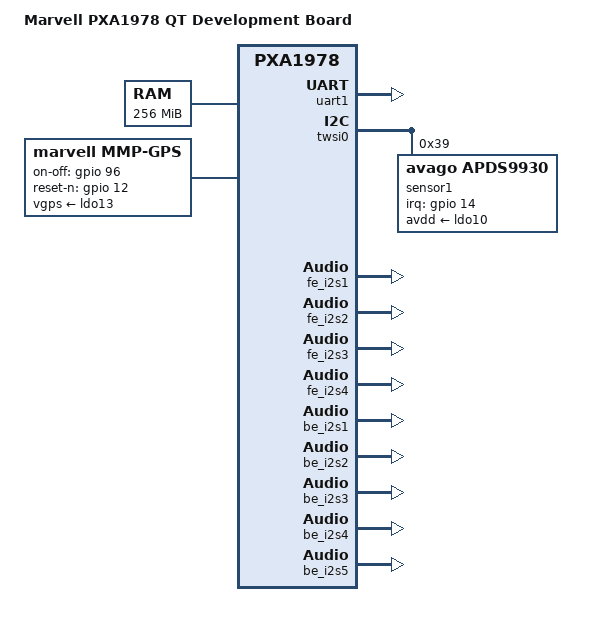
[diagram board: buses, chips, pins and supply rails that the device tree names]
/*
 *  Copyright (C) 2012 Marvell Technology Group Ltd.
 *  Author: Haojian Zhuang <haojian.zhuang@marvell.com>
 *
 *  This program is free software; you can redistribute it and/or modify
 *  it under the terms of the GNU General Public License version 2 as
 *  publishhed by the Free Software Foundation.
 */

/dts-v1/;
/memreserve/ 0x08100000 0x00040000;     /* ramoops buffer (256KB) */
#if (0)
/memreserve/ 0x17000000 0x01800000;	/* Frame buffer (24MB) */
/memreserve/ 0x09000000 0x01000000;	/* GPU Reserved mem (16MB) */
/memreserve/ 0x0a000000 0x00080000;	/* CM3 shared buffer(512KB) */
/memreserve/ 0x0b000000 0x01000000;	/* CM3 ACQ buffer(16MB) */
#endif
#include "pxa1978.dtsi"
#include "pxa988-pinfunc.h"
#include <dt-bindings/mmc/pxa_sdhci.h>

/ {
	model = "Marvell PXA1978 QT Development Board";
	compatible = "marvell,pxa1978-qt", "marvell,pxa1978";

	chosen {
		bootargs = "console=ttyS0,115200 root=/dev/nfs nfsroot=192.168.1.100:/nfsroot/ ip=192.168.1.101:192.168.1.100::255.255.255.0::eth0:on";
	};

	memory {
		reg = <0x00000000 0x10000000>;
	};

	soc {
		bus_number = <2>;

		pd_display: pd_display@0xd4282800 {
			compatible = "marvell,power-domain-display-pxa1u88";
			reg = <0xd4282800 0x1000>;
			clocks = <&soc_clocks PXA1U88_CLK_DISP_HCLK>,
				<&soc_clocks PXA1U88_CLK_DSI_ESC>,
				<&soc_clocks PXA1U88_CLK_DISP1_EN>;
			clock-names = "LCDCIHCLK", "esc_clk", "disp1_clk_gate";
		};

		apb@f7200000 {
			pdma0: pdma@f7200000 {
				status = "okay";
			};

			timer0: timer@f7222000 {
				status = "okay";
			};

			timer1: timer@f7223000 {
				status = "okay";
			};

			timer2: timer@f7221000 {
				status = "okay";
			};

			edgewakeup: edgewakeup@f6101000 {
				status = "okay";
			};

			uart0: uart@f7218000 {
				pinctrl-names = "default", "sleep";
				pinctrl-0 = <&uart0_pmx_func1 &uart0_pmx_func2>;
				pinctrl-1 = <&uart0_pmx_func1_sleep &uart0_pmx_func2>;
				edge-wakeup-gpio = <47>; /* GPIO47: UART rx pin */
			};

			uart1: uart@f7217000 {
				pinctrl-names = "default";
				pinctrl-0 = <&uart3_pmx_func>;
				status = "okay";
			};

			keypad: keypad@d4012000 {
				marvell,direct-keys;
				marvell,direct-key-low-active;
				marvell,keypad-lpm-mod;
				marvell,direct-key-count = <2>;
				marvell,direct-key-mask = <0xff>;
				marvell,direct-key-map = < 0x73
							   0x72>;
				marvell,debounce-interval = <30>;
				pinctrl-names = "default";
				pinctrl-0 = <&keypad_in_func>;
				status = "disabled";
			};

			mfpr: mfpr@f6120000 {
				reg = <0xf6120000 0x280>;
				status = "disabled";
			};

			pmx: pinmux@f711e000 {
				status = "okay";
				pinctrl-names = "default";
				pinctrl-0 = <&mfp_pins_group_0 &mfp_pins_group_1 &mfp_pins_group_2>;

				/* pin base, nr pins & gpio function */
				pinctrl-single,gpio-range = <
					/*
					 * GPIO number is hardcoded for range at here.
					 * In gpio chip, GPIO number is not hardcoded for range.
					 * Since one gpio pin may be routed to multiple pins,
					 * define these gpio range in pxa910-dkb.dts not pxa910.dtsi.
					 */
					&range 55 55 0	/* GPIO0 ~ GPIO54 */
					&range 110 32 0 /* GPIO67 ~ GPIO98 */
					&range 52 1 0	/* GPIO124 */
				>;

                                /* MFP_PULL_HIGH | MFP_LPM_FLOAT */
                                mfp_pins_group_0: mfp_pins_group_0 {
                                        pinctrl-single,pins = <
                                                PRI_TDO AF0
                                                DF_RDY0 AF1
                                                DF_RDY1 AF1
                                                DF_nCS0_SM_nCS2 AF1
                                                PA_MODE AF6
                                                RF_CONF_4 AF6
                                                SM_ADVMUX AF1
                                        >;
                                        MFP_LPM_PULL_UP;
                                };

				/* CP UART Rx and Tx */
				mfp_pins_group_1: mfp_pins_group_1 {
					pinctrl-single,pins = <
						DF_IO8 AF0
						DF_IO9 AF0
						GPIO76 AF0
					>;
					MFP_LPM_PULL_DW;
				};

				/* CCIC1/CCI2 MCLK pin */
				mfp_pins_group_2: mfp_pins_group_2 {
					pinctrl-single,pins = <
						GPIO43 AF7
						GPIO44 AF7
						GPIO77 AF1
					>;
					MFP_DEFAULT;
				};

				/* MFP_DEFAULT */
				sdh0_pmx_func1: sdh0_pmx_func1 {
					pinctrl-single,pins = <
						MMC1_DAT7 AF1
						MMC1_DAT6 AF1
						MMC1_DAT5 AF1
						MMC1_DAT4 AF1
						MMC1_WP AF1
						MMC1_CD AF1 /* Above pins not used by sdh1, configured as GPIO */
						GPIO91 AF0 /* GPIO91, used for sd card detect */
					>;
					MFP_DEFAULT;
				};

				/* no pull, no LPM */
				sdh0_pmx_func2: sdh0_pmx_func2 {
					pinctrl-single,pins = <
						MMC1_DAT3 AF0
						MMC1_DAT2 AF0
						MMC1_DAT1 AF0
						MMC1_DAT0 AF0
						MMC1_CMD AF0
					>;
					MFP_DEFAULT;
				};

				/* MFP_LPM_DRIVE_LOW */
				sdh0_pmx_func3: sdh0_pmx_func3 {
					pinctrl-single,pins = <
						MMC1_CLK AF0
					>;
					MFP_LPM_DRIVE_LOW;
				};

				/* ds fast, no pull, no LPM */
				sdh0_pmx_func2_fast: sdh0_pmx_func2_fast {
					pinctrl-single,pins = <
						MMC1_DAT3 AF0
						MMC1_DAT2 AF0
						MMC1_DAT1 AF0
						MMC1_DAT0 AF0
						MMC1_CMD AF0
					>;
					DS_FAST;PULL_NONE;EDGE_NONE;LPM_NONE;
				};

				/* ds fast, LPM_DRIVE_LOW */
				sdh0_pmx_func3_fast: sdh0_pmx_func3_fast {
					pinctrl-single,pins = <
						MMC1_CLK AF0
					>;
					DS_FAST;PULL_NONE;EDGE_NONE;LPM_DRIVE_LOW;
				};

				sdh1_pmx_func1_fast: sdh1_pmx_func1_fast {
						pinctrl-single,pins = <
							GPIO37 AF1
							GPIO38 AF1
							GPIO39 AF1
							GPIO40 AF1
							GPIO41 AF1
						>;
						DS_FAST;PULL_NONE;EDGE_NONE;LPM_NONE;
				};

				sdh1_pmx_func2_fast: sdh1_pmx_func2_fast {
						pinctrl-single,pins = <
							GPIO42 AF1
						>;
						DS_FAST;PULL_NONE;EDGE_NONE;LPM_DRIVE_LOW;
				};

				sdh1_pmx_func1: sdh1_pmx_func1 {
						pinctrl-single,pins = <
							GPIO37 AF1
							GPIO38 AF1
							GPIO39 AF1
							GPIO40 AF1
							GPIO41 AF1
						>;
						MFP_DEFAULT;
				};

				sdh1_pmx_func2: sdh1_pmx_func2 {
						pinctrl-single,pins = <
							GPIO42 AF1
						>;
						DS_SLOW0;PULL_NONE;EDGE_NONE;LPM_DRIVE_LOW;
				};

				sdh1_pmx_func3: sdh1_pmx_func3 {
						pinctrl-single,pins = <
							GPIO7 AF0
							GPIO71 AF0
							GPIO20 AF0 /* WIB_3V3_EN */
						>;
						DS_MEDIUM;PULL_FLOAT;EDGE_NONE;LPM_NONE;
				};

				sdh1_pmx_func4: sdh1_pmx_func4 {
						pinctrl-single,pins = <
							GPIO8 AF0
							GPIO5 AF0
						>;
						DS_MEDIUM;PULL_DOWN;EDGE_NONE;LPM_NONE;
				};

				sdh1_pmx_edge_wakeup: sdh1_pmx_edge_wakeup {
						pinctrl-single,pins = <
							GPIO39 AF1
						>;
						DS_MEDIUM;PULL_NONE;EDGE_BOTH;LPM_NONE;
				};

				/* no pull, no LPM */
				sdh2_pmx_func1: sdh2_pmx_func1 {
					pinctrl-single,pins = <
						ND_IO7 AF1
						ND_IO6 AF1
						ND_IO5 AF1
						ND_IO4 AF1
						ND_IO3 AF1
						ND_IO2 AF1
						ND_IO1 AF1
						ND_IO0 AF1
						ND_CLE_SM_OEN AF1
					>;
					MFP_DEFAULT;
				};

				/* MFP_LPM_DRIVE_LOW */
				sdh2_pmx_func2: sdh2_pmx_func2 {
					pinctrl-single,pins = <
						SM_SCLK AF1
					>;
					MFP_LPM_DRIVE_LOW;
				};

				/* ds fast, no pull, no LPM */
				sdh2_pmx_func1_fast: sdh2_pmx_func1_fast {
					pinctrl-single,pins = <
						ND_IO7 AF1
						ND_IO6 AF1
						ND_IO5 AF1
						ND_IO4 AF1
						ND_IO3 AF1
						ND_IO2 AF1
						ND_IO1 AF1
						ND_IO0 AF1
						ND_CLE_SM_OEN AF1
					>;
					DS_FAST;PULL_NONE;EDGE_NONE;LPM_NONE;
				};

				/* ds fast, LPM_DRIVE_LOW */
				sdh2_pmx_func2_fast: sdh2_pmx_func2_fast {
					pinctrl-single,pins = <
						SM_SCLK AF1
					>;
					DS_FAST;PULL_NONE;EDGE_NONE;LPM_DRIVE_LOW;
				};

				m9250_irq_pin: m9250_irq_pin {
					pinctrl-single,pins = <
						ND_IO10 AF1
					>;
					MFP_LPM_PULL_DW;
				};

				keypad_in_func: keypad_in_func {
					pinctrl-single,pins = <
						GPIO16 AF1	/* GPIO016_KP_DKIN1 */
						GPIO17 AF1	/* GPIO017_KP_DKIN2 */
					>;
					DS_MEDIUM;PULL_UP;EDGE_NONE;LPM_DRIVE_HIGH;
				};
				twsi0_pmx_func: twsi0_pmx_func {
					/* gpio79/80: AF1 */
					pinctrl-single,pins = <
						GPIO79 0x1
						GPIO80 0x1
					>;
					MFP_LPM_FLOAT;
				};
				twsi0_pmx_gpio: twsi0_pmx_gpio {
					pinctrl-single,pins = <
						GPIO79 AF0
						GPIO80 AF0
					>;
					MFP_LPM_FLOAT;
				};
				twsi1_pmx_func: twsi1_pmx_func {
					/* gpio87/88: AF5 */
					pinctrl-single,pins = <
						GPIO87 0x5
						GPIO88 0x5
					>;
					MFP_LPM_FLOAT;
				};
				twsi1_pmx_gpio: twsi1_pmx_gpio {
					pinctrl-single,pins = <
						GPIO87 AF0
						GPIO88 AF0
					>;
					MFP_LPM_FLOAT;
				};
				twsi3_pmx_func: twsi3_pmx_func {
					/* gpio73/74: AF5 */
					pinctrl-single,pins = <
						0x1d0 0x5
						0x1d4 0x5
					>;
					MFP_LPM_FLOAT;
				};
				twsi3_pmx_gpio: twsi3_pmx_gpio {
					pinctrl-single,pins = <
						GPIO73 AF0
						GPIO74 AF0
					>;
					MFP_LPM_FLOAT;
				};
				twsi3_pmx_senhb: twsi3_pmx_senhb {
					pinctrl-single,pins = <
						GPIO73 AF7
						GPIO74 AF7
					>;
					MFP_DEFAULT;
				};
				twsi3_pmx_senhb_def: twsi3_pmx_senhb_def {
					pinctrl-single,pins = <
						GPIO73 AF7
						GPIO74 AF7
					>;
					MFP_LPM_FLOAT;
				};
				dvc_pmx_func: dvc_pmx_func {
					pinctrl-single,pins = <
						GPIO93 AF5
						GPIO94 AF5
					>;
					MFP_DEFAULT;
				};
				pm830_pmx_func1: pm830_pmx_func1 {
					pinctrl-single,pins = <
						GPIO29 AF0
					>;
					MFP_DEFAULT;
				};
				pm830_pmx_func1_sleep: pm830_pmx_func1_sleep {
					pinctrl-single,pins = <
						GPIO29 AF0
					>;
					DS_MEDIUM;PULL_NONE;EDGE_BOTH;LPM_NONE;
				};
				touch_pins: touch_pins {
					pinctrl-single,pins = <
						GPIO72 0x0
						GPIO75 0x0
					>;
					MFP_LPM_FLOAT;
				};

				pm830_pmx_leds: pm830_pmx_leds {
					pinctrl-single,pins = <
						GPIO19 AF0	/* PA_EN */
						GPIO95 AF0	/* FLASH_EN */
					>;
					MFP_LPM_FLOAT;
				};
				pm830_bat_det: pm830_bat_det {
					pinctrl-single,pins = <
						GPIO31 AF0	/* BAT_DET */
					>;
					MFP_LPM_PULL_DW;
				};

				uart0_pmx_func1: uart0_pmx_func1 {
					pinctrl-single,pins = <
						GPIO47 AF6
					>;
					MFP_DEFAULT;
				};

				uart0_pmx_func2: uart0_pmx_func2 {
					pinctrl-single,pins = <
						GPIO48 AF6
					>;
					MFP_DEFAULT;
				};

				uart0_pmx_func1_sleep: uart0_pmx_func1_sleep {
					pinctrl-single,pins = <
						GPIO47 AF6
					>;
					DS_MEDIUM;PULL_NONE;EDGE_BOTH;LPM_NONE;
				};

				sspa0_gpio: sspa0_gpio {
					pinctrl-single,pins = <
						GPIO21 AF0
						GPIO22 AF0
						GPIO23 AF0
						GPIO24 AF0
					>;
					DS_MEDIUM;PULL_NONE;EDGE_NONE;LPM_FLOAT;
				};
				sspa0_func: sspa0_func {
					pinctrl-single,pins = <
						GPIO21 AF7
						GPIO22 AF7
						GPIO23 AF7
						GPIO24 AF7
					>;
					DS_MEDIUM;PULL_NONE;EDGE_NONE;LPM_NONE;
				};
				sspa1_func: sspa1_func {
					pinctrl-single,pins = <
						GPIO25 AF7
						GPIO26 AF7
						GPIO27 AF7
						GPIO28 AF7
					>;
					DS_MEDIUM;PULL_NONE;EDGE_NONE;LPM_NONE;
				};
				disp_func: disp_func {
					pinctrl-single,pins = <
						GPIO4 AF0
						GPIO6 AF0
						GPIO32 AF0
					>;
					MFP_LPM_PULL_DW;
				};
				gssp_func: gssp_func {
					pinctrl-single,pins = <
						GPIO25 AF1
						GPIO26 AF1
						GPIO27 AF1
						GPIO28 AF1
					>;
					DS_MEDIUM;PULL_NONE;EDGE_NONE;LPM_NONE;
				};
				gssp_gpio: gssp_gpio {
					pinctrl-single,pins = <
						GPIO25 AF0
						GPIO26 AF0
						GPIO27 AF0
						GPIO28 AF0
					>;
					DS_MEDIUM;PULL_NONE;EDGE_NONE;LPM_FLOAT;
				};

				led_pmx_func: led_pmx_func {
					pinctrl-single,pins = <
						/* LED_R_CTRL */
						DF_nCS1_SM_nCS3 AF1
						/* LED_G_CTRL */
						SM_nCS0 AF1
						/* LED_B_CTRL */
						SM_nCS1 AF1
					>;
					MFP_LPM_PULL_DW;
				};

				uart3_pmx_func: uart3_pmx_func {
					pinctrl-single,pins = <
						GPIO45 AF1
						GPIO46 AF1
					>;
					MFP_DEFAULT;
				};

				gnss_pmx_def1: gnss_pmx_def1 {
					pinctrl-single,pins = <
						ND_IO11 AF1
						ND_IO12 AF1
						ND_IO13 AF1
						ND_IO15 AF1
					>;
					MFP_LPM_PULL_DW;
				};

				gnss_pmx_def2: gnss_pmx_def2 {
					pinctrl-single,pins = <
						ND_IO14 AF0
					>;
					MFP_LPM_FLOAT;
				};

				gnss_pmx_power_on: gnss_pmx_power_on {
					pinctrl-single,pins = <
						ND_IO11 AF5
						ND_IO12 AF5
						ND_IO13 AF5
						ND_IO14 AF5
						ND_IO15 AF5
					>;
					MFP_DEFAULT;
				};

				senhb_irq_pins_def: senhb_irq_pins_def {
					pinctrl-single,pins = <
						GPIO11 AF0
						GPIO10 AF0
						ND_IO10 AF5
					>;
					MFP_DEFAULT;
				};

				gps_pmx_reset: gps_pmx_reset {
					pinctrl-single,pins = <
						GPIO12 AF0
					>;
					DS_MEDIUM;PULL_DOWN;EDGE_NONE;LPM_NONE;
				};

				gps_pmx_eclk: gps_pmx_eclk {
					/* eclk */
					pinctrl-single,pins = <
						0x0124 0x6
					>;
					MFP_DEFAULT;
				};

				gps_pmx_gpio: gps_pmx_gpio {
					/* gpio18 */
					pinctrl-single,pins = <
						0x0124 0x0
					>;
					MFP_DEFAULT;
				};
			};

			twsi0: i2c@d4011000 {
				pinctrl-names = "default","gpio";
				pinctrl-0 = <&twsi0_pmx_func>;
				pinctrl-1 = <&twsi0_pmx_gpio>;
				i2c-gpio = <&gpio 79 0 &gpio 80 0>;
				status = "okay";

				sensor1: apds9930@39 {
					compatible = "avago,apds9930";
					reg = <0x39>;
					interrupt-parent = <&gpio>;
					interrupts = <14 0x1>;
					irq-gpios = <&gpio 14 0>;
					avdd-supply = <&ldo10>;
				};
			};
			twsi1: i2c@d4010800 {
				pinctrl-names = "default","gpio";
				pinctrl-0 = <&twsi1_pmx_func>;
				pinctrl-1 = <&twsi1_pmx_gpio>;
				i2c-gpio = <&gpio 87 0 &gpio 88 0>;
				status = "disabled";

                                touch1: s3202@720p {
                                        compatible = "synaptics,s3202-touch";
                                        pinctrl-names = "default"; pinctrl-0 = <&touch_pins>;
                                        reg = <0x22>;
                                        interrupt-parent = <&gpio>;
                                        interrupts = <72 0x1>;
                                        /* IRQF_ONESHOT | IRQF_TRIGGER_FALLING */
                                        synaptics,irq-flags =  <0x2002>;
                                        synaptics,irq-gpios = <&gpio 72 0>;
                                        synaptics,reset-gpios = <&gpio 75 0>;
                                        synaptics,sensor_res_x = <720>;
                                        synaptics,sensor_res_y = <1280>;
                                        synaptics,sensor_max_x = <798>;
                                        synaptics,sensor_max_y = <1392>;
                                        synaptics,sensor_margin_x = <39>;
                                        synaptics,sensor_margin_y = <0>;
                                        avdd-supply = <&ldo10>;
                                };

                                touch2: s3202@1080p {
                                        compatible = "synaptics,s3202-touch";
                                        pinctrl-names = "default"; pinctrl-0 = <&touch_pins>;
                                        reg = <0x22>;
                                        interrupt-parent = <&gpio>;
                                        interrupts = <72 0x1>;
                                        /* IRQF_ONESHOT | IRQF_TRIGGER_FALLING */
                                        synaptics,irq-flags =  <0x2002>;
                                        synaptics,irq-gpios = <&gpio 72 0>;
                                        synaptics,reset-gpios = <&gpio 75 0>;
                                        synaptics,sensor_res_x = <1080>;
                                        synaptics,sensor_res_y = <1920>;
                                        synaptics,sensor_max_x = <1080>;
                                        synaptics,sensor_max_y = <2070>;
                                        synaptics,sensor_margin_x = <0>;
                                        synaptics,sensor_margin_y = <0>;
                                        avdd-supply = <&ldo10>;
                                };
			};
			twsi2: i2c@d4037000 {
				status = "disabled";

				pmic0: 88pm822@30 {
					reg = <0x30>;
					interrupts = <0 4 IRQ_TYPE_LEVEL_HIGH>;
					interrupt-parent = <&gic>;
					/* TODO: move this part out */
					dvc {
						pinctrl-names = "default";
						pinctrl-0 = <&dvc_pmx_func>;
						status = "okay";
					};

					headset {
						compatible = "marvell,88pm80x-headset";
						marvell,switch-name = "h2w";
						marvell,headset-flag = <1>;
						marvell,hook-press-th = <60>;
						marvell,vol-up-press-th = <250>;
						marvell,vol-down-press-th = <500>;
						marvell,mic-det-th = <600>;
						marvell,press-release-th = <600>;
						marvell,micbias-supply = <&ldo14>;
					};
				};

				pmic1: 88pm830@68 {
					pinctrl-names = "default", "sleep";
					pinctrl-0 = <&pm830_pmx_func1 &pm830_pmx_leds &pm830_bat_det>;
					pinctrl-1 = <&pm830_pmx_func1_sleep &pm830_pmx_leds &pm830_bat_det>;
					edge-wakeup-gpio = <29>; /* GPIO29: interrupt line */

					reg = <0x68>;
					interrupt-parent = <&gpio>;
					interrupts = <29 IRQ_TYPE_EDGE_FALLING>;

				        charger {
					        status = "okay";
				        };
				        battery {
						marvell,fg-has-external-storage;
						external-storage = <&pmic0>;

					        /* board design related */
					        external-resistor = <200>; /* mohm */
					        /* using scenario */
					        power-off-threshold = <3350>; /* mV */
					        safe-power-off-threshold = <3000>; /* mV */
					        status = "okay";
				        };
				        led {
					        flash-en-gpio = <95>;
					        flash-txmsk-gpio = <19>;
					        status = "okay";
				        };
					vbus {
						gpadc-number = <1>;
						status = "okay";
					};

				        debug {
					       status = "okay";
				        };
			       };
				pmic2: 88pm860@38 {
					compatible = "marvell,88pm860";
					reg = <0x38>;
					pm860_codec: pm860_codec {
						compatible = "marvell,88pm860-codec";
						#dailink-cells = <1>;
					};
				};
			};
			twsi3: i2c@d4013800 {
				pinctrl-names = "default", "gpio";
				pinctrl-0 = <&twsi3_pmx_func>;
				pinctrl-1 = <&twsi3_pmx_gpio>;
				i2c-gpio = <&gpio 73 0 &gpio 74 0>;
				status = "disabled";

				sensor2: bmp18x@77 {
					compatible = "bosch,bmp18x";
					reg = <0x77>;
					avdd-supply = <&ldo10>;
				};

				sensor3: mpu9250@69 {
					compatible = "invensense,mpu9250";
					pinctrl-names = "default";
					pinctrl-0 = <&m9250_irq_pin>;
					reg = <0x69>;
					interrupt-parent = <&gpio>;
					interrupts = <65 IRQ_TYPE_EDGE_FALLING>;
					inven,irq-gpios = <&gpio 65 0x00>;
					avdd-supply = <&ldo10>;
					axis_map_x = <0>;
					negate_x = <0>;
					axis_map_y = <4>;
					negate_y = <0>;
					axis_map_z = <8>;
					negate_z = <0>;
					inven,secondary_axis_map_x = <0>;
					inven,secondary_negate_x = <0>;
					inven,secondary_axis_map_y = <4>;
					inven,secondary_negate_y = <0>;
					inven,secondary_axis_map_z = <8>;
					inven,secondary_negate_z = <0>;
					inven,secondary_type = "compass";
					inven,secondary_name = "ak8963";
					inven,secondary_reg = <0xc>;
				};
			};

			/* SSPA port 0 */
			sspa0: sspa@d128dc00 {
				pinctrl-names = "default";
				pinctrl-0 = <&sspa0_func>;
				playback_period_bytes = <4096>;
				playback_buffer_bytes = <12288>;
				capture_period_bytes = <4096>;
				capture_buffer_bytes = <8192>;
				burst_size = <4>;
				sleep_vol = <850>;
				#dailink-cells = <1>;
				status = "disabled";
			};

			/* SSPA port 1 */
			sspa1: sspa@d128dd00 {
				pinctrl-names = "default";
				pinctrl-0 = <&sspa1_func>;
				playback_period_bytes = <16384>;
				playback_buffer_bytes = <32768>;
				capture_period_bytes = <4096>;
				capture_buffer_bytes = <8192>;
				burst_size = <4>;
				sleep_vol = <850>;
				#dailink-cells = <1>;
				status = "disabled";
			};

			map: map@d1200000 {
				marvell,apll = <0>;
				status = "disabled";
				mmp_map_codec: mmp_map_codec {
					compatible = "marvell,mmp-map-codec";
					#dailink-cells = <1>;
				};
				mmp_map_be: mmp_map_be {
					compatible = "marvell,mmp-map-be";
					#dailink-cells = <1>;
				};
				mmp_map_be_tdm: mmp_map_be_tdm {
					compatible = "marvell,mmp-map-be-tdm";
					#dailink-cells = <1>;
				};
			};

			swjtag: swjtag@d4013100 {
				status = "disabled";
			};

			thermal: thermal@d4013300 {
				/* A cooling path is defined with the increased num */
				/* 4core 3core 2core 1core */
				core-p0 = <0 0 0 0  /* 2.0G */
					   1 0 0 0  /* 1.8G */
					   2 0 0 0  /* 1.5G */
					   3 0 0 0>;/* 1.2G */
				/* 1.2G * 2 core cooling state */
				thermal_safe-p0 = <3 2>;
				status = "disabled";
			};

			acipc: acipc@d401d000 {
				status = "disabled";
			};

			seh: seh@d4080000 {
				status = "disabled";
			};

			cp-load {
				compatible = "marvell,cp_load";
				cp-type = <1>; /* pxa1U88 */
				lpm-qos = <PM_QOS_CPUIDLE_BLOCK_AXI>;
				status = "disabled";
			};
		};

                /*
                 * ramoops:
                 * 256 KB memory starts at 0x8100000
                 * pstore dump: 2 chunks, total 64 KB, 32 KB each
                 * console size: 192 KB
                 * no dump_oops
                 */
                ramoops {
			compatible = "pstore,ramoops";
                        mem-size = <0x40000>;
                        mem-address = <0x8100000>;
                        record-size = <0x8000>;
                        console-size = <0x30000>;
                        dump-oops = <0>;
                        status = "okay";
                };
	};

	mmp_pcm_hostless: mmp_pcm_hostless {
		bus_number = <0>;
		compatible = "marvell,mmp-pcm-hostless";
		#dailink-cells = <1>;
		status = "disabled";
	};

	snd_soc_dummy: snd_soc_dummy {
		compatible = "snd-soc-dummy";
		#dailink-cells = <1>;
		status = "disabled";
	};

	sound {
		compatible = "marvell,map-card";
		map,dapm-route =
			"ADC input1", "TDM_MIC1_CAP",
			"ADC input2", "TDM_MIC2_CAP",
			"ADC input3", "BT_VC_UL",
			"TDM_OUT1_PLAYBACK", "DAC1 output out1",
			"TDM_OUT2_PLAYBACK", "DAC2 output out2",
			"BT_VC_DL", "ADC output ain3";
		fe_i2s1: fe_i2s1 {
			compatible = "marvell,map-dailink-1";
			dai-name = "MAP I2S1 audio";
			stream-name = "map i2s1";
			marvell,cpu-dai = <&sspa0 0>;
			marvell,codec-dai = <&mmp_map_codec 1>;
			marvell,dai-dynamic;
		};
		fe_i2s2: fe_i2s2 {
			compatible = "marvell,map-dailink-1";
			dai-name = "MAP I2S4 audio";
			stream-name = "map i2s4";
			marvell,cpu-dai = <&sspa1 1>;
			marvell,codec-dai = <&mmp_map_codec 4>;
			marvell,dai-dynamic;
		};
		fe_i2s3: fe_i2s3 {
			compatible = "marvell,map-dailink-2";
			dai-name = "MAP I2S2 audio";
			stream-name = "map i2s2";
			marvell,cpu-dai = <&mmp_pcm_hostless 0>;
			marvell,codec-dai = <&mmp_map_codec 2>;
			marvell,dai-dynamic;
			marvell,dai-no-host-mode;
		};
		fe_i2s4: fe_i2s4 {
			compatible = "marvell,map-dailink-1";
			dai-name = "MAP I2S3 audio";
			stream-name = "map i2s3";
			marvell,cpu-dai = <&mmp_pcm_hostless 0>;
			marvell,codec-dai = <&mmp_map_codec 3>;
			marvell,dai-dynamic;
			marvell,dai-no-host-mode;
		};
		be_i2s1: be_i2s1 {
			compatible = "marvell,map-dailink-3";
			dai-name = "MAP AUXI2S audio";
			stream-name = "BT audio";
			marvell,cpu-dai = <&mmp_map_be 1>;
			marvell,codec-dai = <&snd_soc_dummy 0>;
			marvell,codec-name = "snd-soc-dummy";
			marvell,codec-dai-name = "snd-soc-dummy-dai";
			marvell,dai-no-pcm;
			marvell,dai-fixup = <0>;
		};
		be_i2s2: be_i2s2 {
			compatible = "marvell,map-dailink-6";
			dai-name = "MAP TDM hs audio";
			stream-name = "codec hs audio";
			marvell,cpu-dai = <&mmp_map_be_tdm 2>;
			marvell,codec-dai = <&pm860_codec 3>;
			marvell,playback-only;
			marvell,dai-no-pcm;
			marvell,dai-fixup = <1>;
		};
		be_i2s3: be_i2s3 {
			compatible = "marvell,map-dailink-4";
			dai-name = "MAP TDM speaker audio";
			stream-name = "codec speaker audio";
			marvell,cpu-dai = <&mmp_map_be_tdm 1>;
			marvell,codec-dai = <&pm860_codec 4>;
			marvell,playback-only;
			marvell,dai-no-pcm;
			marvell,dai-fixup = <1>;
		};
		be_i2s4: be_i2s4 {
			compatible = "marvell,map-dailink-5";
			dai-name = "MAP TDM mic1 audio";
			stream-name = "codec mic1 audio";
			marvell,cpu-dai = <&mmp_map_be_tdm 3>;
			marvell,codec-dai = <&pm860_codec 1>;
			marvell,capture-only;
			marvell,dai-no-pcm;
		};
		be_i2s5: be_i2s5 {
			compatible = "marvell,map-dailink-5";
			dai-name = "MAP TDM mic2 audio";
			stream-name = "codec mic2 audio";
			marvell,cpu-dai = <&mmp_map_be_tdm 4>;
			marvell,codec-dai = <&pm860_codec 2>;
			marvell,capture-only;
			marvell,dai-no-pcm;
		};
	};

	ion {
		marvell,ion-nr = <2>;
		status = "disabled";
		marvell,ion-iommu = <1>;
		/*marvell,power-domain = <&pd_smmu>;*/
		heap1 {
			marvell,ion-name = "carveout_heap";
			marvell,ion-type = <2>;
			marvell,ion-id = <2>;
			marvell,ion-base = <0>;
			marvell,ion-size = <0>;
		};
		heap2 {
			marvell,ion-name = "system_heap";
			marvell,ion-type = <0>;
			marvell,ion-id = <0>;
		};
	};

	panel1: lg4591 {
		compatible = "marvell,mmp-lg4591";
		marvell,path-name = "mmp_pnpath";
		rst_gpio = <&gpio 4 0>;
		avdd-supply = <&ldo10>;
		status = "disabled";
	};

	panel2: r63311 {
		compatible = "marvell,mmp-r63311";
		marvell,path-name = "mmp_pnpath";
		rst_gpio = <&gpio 4 0>;
		power_gpio = <&gpio 6 0>;
		bl_gpio = <&gpio 32 0>;
		status = "disabled";
	};

	panel4: hx8394 {
		compatible = "marvell,mmp-hx8394";
		marvell,path-name = "mmp_pnpath";
		panel_esd = <0>;
		rst_gpio = <&gpio 4 0>;
		status = "disabled";
	};

	gps: mmp-gps {
		compatible = "marvell,mmp-gps";
		marvell,gps-eclk-ctrl;

		vgps-supply = <&ldo13>;

		pinctrl-names = "default", "idle";
		pinctrl-0 = <&gps_pmx_eclk &gps_pmx_reset>;
		pinctrl-1 = <&gps_pmx_gpio>;

		on-off-gpio = <&gpio 96 0>;
		reset-n-gpio = <&gpio 12 0>;
	};

	led-rgb {
		compatible = "marvell,led-rgb";
		pinctrl-names = "default";
		pinctrl-0 = <&led_pmx_func>;
		led_r = <&gpio 102 0>;
		led_g = <&gpio 103 0>;
		led_b = <&gpio 104 0>;
		status = "disabled";
	};

	mmp_m3_1: apsenhb {
		compatible = "marvell,mmp-m3";
		pmicver = <1>;
		vm3pwr-supply = <&ldo13>;
		antpwr-supply = <&ldo8>;

		pinctrl-names = "default", "poweron", "unfuse_en_d2";
		pinctrl-0 = <&gnss_pmx_def1 &gnss_pmx_def2>;
		pinctrl-1 = <&gnss_pmx_power_on>;
		pinctrl-2 = <&gnss_pmx_def2>;
		status = "disabled";
	};

	mmp_m3_2: cm3senhb {
		compatible = "marvell,mmp-m3";
		pmicver = <1>;
		vm3pwr-supply = <&ldo13>;
		senpwr-supply = <&ldo10>;
		antpwr-supply = <&ldo8>;

		pinctrl-names = "default", "poweron", "unfuse_en_d2";
		pinctrl-0 = <&gnss_pmx_def1 &gnss_pmx_def2 &twsi3_pmx_senhb_def &senhb_irq_pins_def>;
		pinctrl-1 = <&gnss_pmx_power_on &twsi3_pmx_senhb>;
		pinctrl-2 = <&gnss_pmx_def2>;
		status = "disabled";
	};

	sd8x-rfkill {
		sd-host = <&sdh1>;
		pd-gpio = <&gpio 7 0>;
		rst-gpio = <&gpio 71 0>;
		3v3-ldo-gpio = <&gpio 20 0>;
		edge-wakeup-gpio = <&gpio 39 0>;
		status = "disabled";
	};
};
#include "88pm822.dtsi"
#include "88pm822_pxa1u88_dkb.dtsi"

#include "88pm830.dtsi"
#include "88pm830_battery_common.dtsi"
#include "88pm830_sp4555557sa.dtsi"
